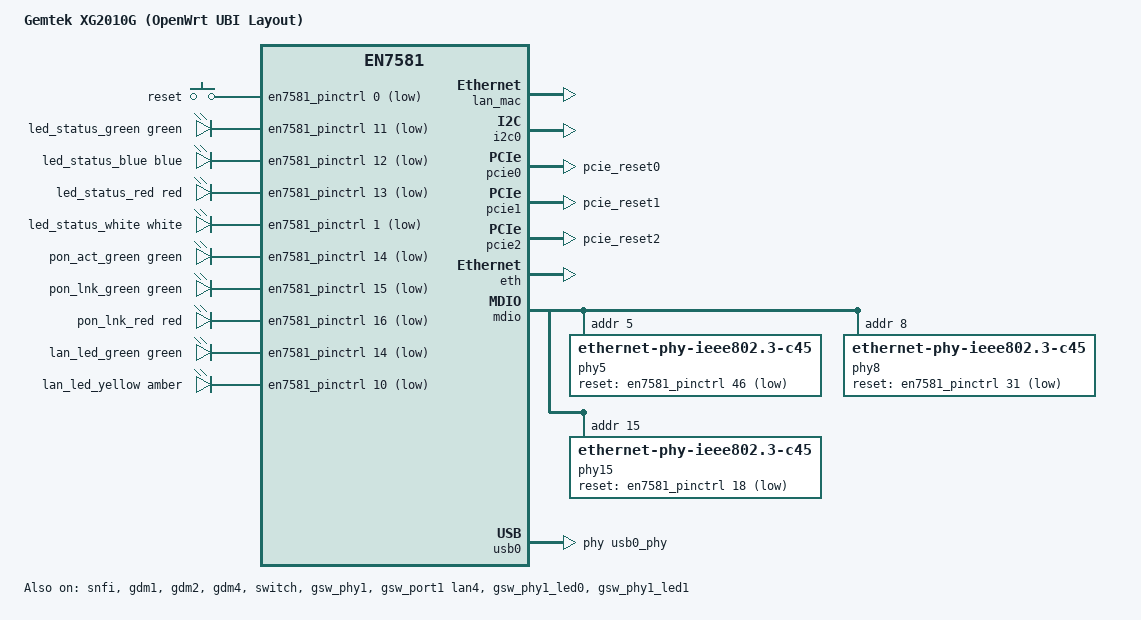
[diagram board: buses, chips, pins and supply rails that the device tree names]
// SPDX-License-Identifier: GPL-2.0-or-later OR MIT

/dts-v1/;

#include <dt-bindings/leds/common.h>
#include <dt-bindings/gpio/gpio.h>
#include <dt-bindings/input/input.h>
#include "an7581.dtsi"

/ {
	model = "Gemtek XG2010G (OpenWrt UBI Layout)";
	compatible = "gemtek,xg2010g-ubi", "airoha,an7581", "airoha,en7581";

	aliases {
		serial0 = &uart1;
		led-boot = &led_status_red;
		led-failsafe = &led_status_blue;
		led-upgrade = &led_status_blue;
		led-running = &led_status_green;
	};

	chosen {
		rootdisk = <&ubi_rootfs>;
		bootargs = "console=ttyS0,115200 earlycon ubi.block=0,fit root=/dev/fit0 rootwait";
		stdout-path = "serial0:115200n8";
	};

	keys {
		compatible = "gpio-keys";

		key-restart {
			label = "reset";
			gpios = <&en7581_pinctrl 0 GPIO_ACTIVE_LOW>;
			linux,code = <KEY_RESTART>;
		};
	};

	leds {
		compatible = "gpio-leds";

		led_status_green: led-0 {
			color = <LED_COLOR_ID_GREEN>;
			function = LED_FUNCTION_STATUS;
			gpios = <&en7581_pinctrl 11 GPIO_ACTIVE_LOW>;
		};

		led_status_blue: led-1 {
			color = <LED_COLOR_ID_BLUE>;
			function = LED_FUNCTION_STATUS;
			gpios = <&en7581_pinctrl 12 GPIO_ACTIVE_LOW>;
		};

		led_status_red: led-2 {
			color = <LED_COLOR_ID_RED>;
			function = LED_FUNCTION_STATUS;
			gpios = <&en7581_pinctrl 13 GPIO_ACTIVE_LOW>;
		};

		led_status_white: led-3 {
			color = <LED_COLOR_ID_WHITE>;
			function = LED_FUNCTION_STATUS;
			gpios = <&en7581_pinctrl 1 GPIO_ACTIVE_LOW>;
		};

		pon_act_green: led-4 {
			color = <LED_COLOR_ID_GREEN>;
			function = LED_FUNCTION_ACTIVITY;
			gpios = <&en7581_pinctrl 14 GPIO_ACTIVE_LOW>;
		};

		pon_lnk_green: led-5 {
			color = <LED_COLOR_ID_GREEN>;
			function = LED_FUNCTION_LAN;
			gpios = <&en7581_pinctrl 15 GPIO_ACTIVE_LOW>;
		};

		pon_lnk_red: led-6 {
			color = <LED_COLOR_ID_RED>;
			function = LED_FUNCTION_LAN;
			gpios = <&en7581_pinctrl 16 GPIO_ACTIVE_LOW>;
		};

		lan_led_green: led-7 {
			color = <LED_COLOR_ID_GREEN>;
			function = LED_FUNCTION_LAN;
			gpios = <&en7581_pinctrl 14 GPIO_ACTIVE_LOW>;
		};

		lan_led_yellow: led-8 {
			color = <LED_COLOR_ID_AMBER>;
			function = LED_FUNCTION_LAN;
			gpios = <&en7581_pinctrl 10 GPIO_ACTIVE_LOW>;
		};
	};
};

&en7581_pinctrl {
	gpio-ranges = <&en7581_pinctrl 0 13 47>;

	mdio_pins: mdio-pins {
		mux {
			function = "mdio";
			groups = "mdio";
		};

		conf {
			pins = "gpio2";
			output-high;
		};
	};

	pcie0_rst_pins: pcie0-rst-pins {
		conf {
			pins = "pcie_reset0";
			drive-open-drain = <1>;
		};
	};

	pcie1_rst_pins: pcie1-rst-pins {
		conf {
			pins = "pcie_reset1";
			drive-open-drain = <1>;
		};
	};

	pcie2_rst_pins: pcie2-rst-pins {
		conf {
			pins = "pcie_reset2";
			drive-open-drain = <1>;
		};
	};

	gswp1_led0_pins: gswp1-led0-pins {
		mux {
			function = "phy1_led0";
			pins = "gpio33";
		};
	};

	gswp1_led1_pins: gswp1-led1-pins {
		mux {
			function = "phy1_led1";
			pins = "gpio43";
		};
	};

	gswp2_led0_pins: gswp2-led0-pins {
		mux {
			function = "phy2_led0";
			pins = "gpio34";
		};
	};

	gswp2_led1_pins: gswp2-led1-pins {
		mux {
			function = "phy2_led1";
			pins = "gpio44";
		};
	};
};

&snfi {
	status = "okay";
};

&spi_nand {
	#address-cells = <1>;
	#size-cells = <1>;
	partitions {
		compatible = "fixed-partitions";
		#address-cells = <1>;
		#size-cells = <1>;

		partition@0 {
			label = "vendor";
			reg = <0x00000000 0x00600000>;
			read-only;
		};

		partition@600000 {
			label = "chainloader";
			reg = <0x00600000 0x00100000>;
			read-only;
		};

		partition@700000 {
			label = "ubi";
			reg = <0x00700000 0x1f700000>;
			compatible = "linux,ubi";

			volumes {
				ubi-volume-ubootenv {
					volname = "ubootenv";
					nvmem-layout {
						compatible = "u-boot,env-redundant-bool";
					};
				};

				ubi-volume-ubootenv2 {
					volname = "ubootenv2";
					nvmem-layout {
						compatible = "u-boot,env-redundant-bool";
					};
				};

				ubi_rootfs: ubi-volume-fit {
					volname = "fit";
				};

				ubi_factory: ubi-volume-factory {
					volname = "factory";
				};
			};
		};

		/* reserved for bad block table */
		reserved_bmt@1fe00000 {
			label = "reserved_bmt";
			reg = <0x1fe00000 0x00200000>;
			read-only;
		};
	};
};

&ubi_factory {
	nvmem-layout {
		compatible = "fixed-layout";
		#address-cells = <1>;
		#size-cells = <1>;

		eeprom: eeprom@0 {
			reg = <0x0 0x1e00>;
		};

		wan_mac: macaddr@5000 {
			reg = <0x5000 0x6>;
		};

		lan_mac: macaddr@6000 {
			compatible = "mac-base";
			reg = <0x6000 0x6>;
			#nvmem-cell-cells = <1>;
		};
	};
};

&i2c0 {
	status = "okay";
};

&pcie0 {
	status = "okay";

	pinctrl-names = "default";
	pinctrl-0 = <&pcie0_rst_pins>;
};

&pcie1 {
	status = "okay";

	pinctrl-names = "default";
	pinctrl-0 = <&pcie1_rst_pins>;
};

&pcie2 {
	status = "okay";

	pinctrl-names = "default";
	pinctrl-0 = <&pcie2_rst_pins>;
};

&eth {
	status = "okay";
};

&gdm1 {
	status = "okay";
	
	nvmem-cells = <&lan_mac 0>;
	nvmem-cell-names = "mac-address";
};

&gdm2 {
	status = "okay";

	phy-handle = <&phy5>;
	phy-mode = "usxgmii";

	nvmem-cells = <&lan_mac 0>;
	nvmem-cell-names = "mac-address";
	openwrt,netdev-name = "lan2";
};

&gdm4 {
	status = "okay";

	phy-handle = <&phy8>;
	phy-mode = "usxgmii";

	nvmem-cells = <&wan_mac 0>;
	nvmem-cell-names = "mac-address";
	openwrt,netdev-name = "wan";
};


&switch {
	status = "okay";

	pinctrl-names = "default";
	pinctrl-0 = <&mdio_pins>;

	mdio {
		phy5: ethernet-phy@5 {
			compatible = "ethernet-phy-ieee802.3-c45";
			reg = <5>;
			reset-gpios = <&en7581_pinctrl 46 GPIO_ACTIVE_LOW>;
			reset-assert-us = <200000>;
			reset-deassert-us = <200000>;
			realtek,pnswap-tx;
			realtek,pnswap-rx;
		};

		phy8: ethernet-phy@8 {
			compatible = "ethernet-phy-ieee802.3-c45";
			reg = <8>;
			reset-gpios = <&en7581_pinctrl 31 GPIO_ACTIVE_LOW>;
			reset-assert-us = <200000>;
			reset-deassert-us = <200000>;
			realtek,pnswap-tx;
			realtek,pnswap-rx;
		};
		
		phy15: ethernet-phy@15 {
			compatible = "ethernet-phy-ieee802.3-c45";
			reg = <15>;
			reset-gpios = <&en7581_pinctrl 18 GPIO_ACTIVE_LOW>;
			reset-assert-us = <10000>;
			reset-deassert-us = <200000>;
		};
	};
};

&gsw_phy1 {
	status = "okay";
	pinctrl-names = "gbe-led";
	pinctrl-0 = <&gswp1_led0_pins>;
	pinctrl-1 = <&gswp1_led1_pins>;
};

&gsw_port1 {
	status = "okay";
	label = "lan4";
};

&gsw_phy1_led0 {
	function = LED_FUNCTION_LAN;
	color = <LED_COLOR_ID_GREEN>;
	status = "okay";
	active-low;
};

&gsw_phy1_led1 {
	function = LED_FUNCTION_LAN;
	color = <LED_COLOR_ID_AMBER>;
	status = "okay";
	active-low;
};

&usb0 {
	status = "okay";
	phys = <&usb0_phy PHY_TYPE_USB2>;
	mediatek,u3p-dis-msk = <0x1>;
};

&usb1 {
	status = "disabled";
};

&afe {
	status = "disabled";
};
